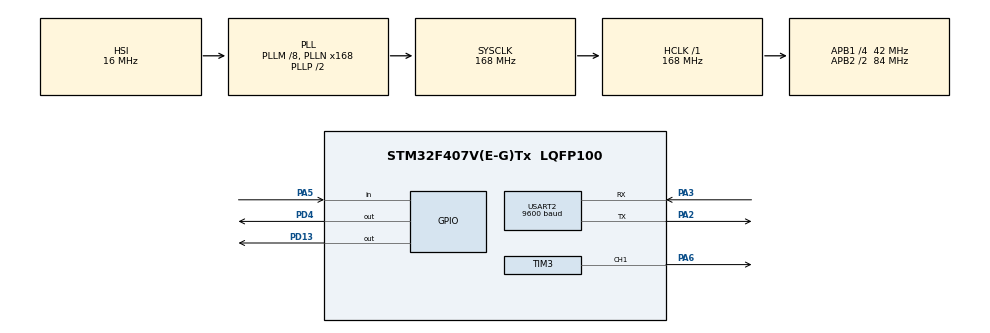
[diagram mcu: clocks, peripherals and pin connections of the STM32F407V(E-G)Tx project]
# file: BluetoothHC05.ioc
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Mcu.Family=STM32F4
Mcu.Name=STM32F407V(E-G)Tx
Mcu.Package=LQFP100
NVIC.PriorityGroup=NVIC_PRIORITYGROUP_4
NVIC.TIM3_IRQn=true\:0\:0\:false\:false\:true\:true\:true\:true
NVIC.USART2_IRQn=true\:0\:0\:false\:false\:true\:true\:true\:true
PA13.Mode=Serial_Wire
PA13.Signal=SYS_JTMS-SWDIO
PA14.Mode=Serial_Wire
PA14.Signal=SYS_JTCK-SWCLK
PA2.Mode=Asynchronous
PA2.Signal=USART2_TX
PA3.Mode=Asynchronous
PA3.Signal=USART2_RX
PA5.Signal=GPIO_Input
PA6.Signal=S_TIM3_CH1
PD13.Signal=GPIO_Output
PD4.Signal=GPIO_Output
PH0-OSC_IN.Mode=HSE-External-Oscillator
PH0-OSC_IN.Signal=RCC_OSC_IN
PH1-OSC_OUT.Mode=HSE-External-Oscillator
PH1-OSC_OUT.Signal=RCC_OSC_OUT
ProjectManager.HeapSize=0x200
ProjectManager.StackSize=0x400
ProjectManager.TargetToolchain=STM32CubeIDE
RCC.48MHZClocksFreq_Value=84000000
RCC.AHBFreq_Value=168000000
RCC.APB1CLKDivider=RCC_HCLK_DIV4
RCC.APB1Freq_Value=42000000
RCC.APB1TimFreq_Value=84000000
RCC.APB2CLKDivider=RCC_HCLK_DIV2
RCC.APB2Freq_Value=84000000
RCC.APB2TimFreq_Value=168000000
RCC.CortexFreq_Value=168000000
RCC.HCLKFreq_Value=168000000
RCC.HSE_VALUE=25000000
RCC.HSI_VALUE=16000000
RCC.LSE_VALUE=32768
RCC.PLLM=8
RCC.PLLN=168
RCC.SYSCLKFreq_VALUE=168000000
RCC.SYSCLKSource=RCC_SYSCLKSOURCE_PLLCLK
RCC.VCOOutputFreq_Value=336000000
SH.S_TIM3_CH1.0=TIM3_CH1,PWM Generation1 CH1
TIM3.Channel-PWM\ Generation1\ CH1=TIM_CHANNEL_1
TIM3.Period=2000 - 1
TIM3.Prescaler=8400 - 1
TIM3.Pulse-PWM\ Generation1\ CH1=1000
USART2.BaudRate=9600
USART2.VirtualMode=VM_ASYNC
VP_TIM3_VS_ClockSourceINT.Mode=Internal
board=custom

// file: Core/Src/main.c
/* USER CODE BEGIN Header */
/**
  ******************************************************************************
  * @file           : main.c
  * @brief          : Main program body
  ******************************************************************************
  * @attention
  *
  * Copyright (c) 2023 STMicroelectronics.
  * All rights reserved.
  *
  * This software is licensed under terms that can be found in the LICENSE file
  * in the root directory of this software component.
  * If no LICENSE file comes with this software, it is provided AS-IS.
  *
  ******************************************************************************
  */
/* USER CODE END Header */
#include "main.h"

/* USER CODE BEGIN Includes */
#include "string.h"
/* USER CODE END Includes */

TIM_HandleTypeDef htim3;

UART_HandleTypeDef huart2;

void SystemClock_Config(void);
static void MX_GPIO_Init(void);
static void MX_USART2_UART_Init(void);
static void MX_TIM3_Init(void);
/* USER CODE BEGIN PFP */
void UART_RxDataAsString_IT(void);
/* USER CODE END PFP */

/* USER CODE BEGIN 0 */
uint8_t rx_byte;
uint8_t rx_buff[20];
uint8_t buff_pos = 0;
uint8_t cmd_rx = 0;

uint8_t hc_responseON[] = "LED IS ON";
uint8_t hc_responseOFF[] = "LED IS OFF";
uint8_t hc_error[] = "INVALID COMMAND";
uint8_t hc_intruder[] = "Someone entered your house!!!";

volatile uint8_t temp;
/* USER CODE END 0 */

int main(void)
{
  /* USER CODE BEGIN 1 */
uint8_t read_pir = 0;

  /* USER CODE END 1 */

  /* MCU Configuration--------------------------------------------------------*/

  /* Reset of all peripherals, Initializes the Flash interface and the Systick. */
  HAL_Init();

  /* Configure the system clock */
  SystemClock_Config();

  /* Initialize all configured peripherals */
  MX_GPIO_Init();
  MX_USART2_UART_Init();
  MX_TIM3_Init();

  /* Infinite loop */
  /* USER CODE BEGIN WHILE */
  HAL_UART_Receive_IT(&huart2, &rx_byte, 1);

  while (1)
  {
    /* USER CODE END WHILE */

    /* USER CODE BEGIN 3 */
	  read_pir = HAL_GPIO_ReadPin(GPIOA, GPIO_PIN_5);
	  if (read_pir && !HAL_GPIO_ReadPin(GPIOD, GPIO_PIN_4)) {
		  HAL_TIM_PWM_Start_IT(&htim3, TIM_CHANNEL_1);
	}else{
		HAL_TIM_PWM_Stop_IT(&htim3, TIM_CHANNEL_1);
		temp = 1;
	}

  }
  /* USER CODE END 3 */
}

void SystemClock_Config(void)
{
  RCC_OscInitTypeDef RCC_OscInitStruct = {0};
  RCC_ClkInitTypeDef RCC_ClkInitStruct = {0};

  /** Configure the main internal regulator output voltage
  */
  __HAL_RCC_PWR_CLK_ENABLE();
  __HAL_PWR_VOLTAGESCALING_CONFIG(PWR_REGULATOR_VOLTAGE_SCALE1);

  /** Initializes the RCC Oscillators according to the specified parameters
  * in the RCC_OscInitTypeDef structure.
  */
  RCC_OscInitStruct.OscillatorType = RCC_OSCILLATORTYPE_HSI;
  RCC_OscInitStruct.HSIState = RCC_HSI_ON;
  RCC_OscInitStruct.HSICalibrationValue = RCC_HSICALIBRATION_DEFAULT;
  RCC_OscInitStruct.PLL.PLLState = RCC_PLL_ON;
  RCC_OscInitStruct.PLL.PLLSource = RCC_PLLSOURCE_HSI;
  RCC_OscInitStruct.PLL.PLLM = 8;
  RCC_OscInitStruct.PLL.PLLN = 168;
  RCC_OscInitStruct.PLL.PLLP = RCC_PLLP_DIV2;
  RCC_OscInitStruct.PLL.PLLQ = 4;
  if (HAL_RCC_OscConfig(&RCC_OscInitStruct) != HAL_OK)
  {
    Error_Handler();
  }

  /** Initializes the CPU, AHB and APB buses clocks
  */
  RCC_ClkInitStruct.ClockType = RCC_CLOCKTYPE_HCLK|RCC_CLOCKTYPE_SYSCLK
                              |RCC_CLOCKTYPE_PCLK1|RCC_CLOCKTYPE_PCLK2;
  RCC_ClkInitStruct.SYSCLKSource = RCC_SYSCLKSOURCE_PLLCLK;
  RCC_ClkInitStruct.AHBCLKDivider = RCC_SYSCLK_DIV1;
  RCC_ClkInitStruct.APB1CLKDivider = RCC_HCLK_DIV4;
  RCC_ClkInitStruct.APB2CLKDivider = RCC_HCLK_DIV2;

  if (HAL_RCC_ClockConfig(&RCC_ClkInitStruct, FLASH_LATENCY_5) != HAL_OK)
  {
    Error_Handler();
  }
}

static void MX_TIM3_Init(void)
{

  TIM_ClockConfigTypeDef sClockSourceConfig = {0};
  TIM_MasterConfigTypeDef sMasterConfig = {0};
  TIM_OC_InitTypeDef sConfigOC = {0};

  htim3.Instance = TIM3;
  htim3.Init.Prescaler = 8400 - 1;
  htim3.Init.CounterMode = TIM_COUNTERMODE_UP;
  htim3.Init.Period = 2000 - 1;
  htim3.Init.ClockDivision = TIM_CLOCKDIVISION_DIV1;
  htim3.Init.AutoReloadPreload = TIM_AUTORELOAD_PRELOAD_DISABLE;
  if (HAL_TIM_Base_Init(&htim3) != HAL_OK)
  {
    Error_Handler();
  }
  sClockSourceConfig.ClockSource = TIM_CLOCKSOURCE_INTERNAL;
  if (HAL_TIM_ConfigClockSource(&htim3, &sClockSourceConfig) != HAL_OK)
  {
    Error_Handler();
  }
  if (HAL_TIM_PWM_Init(&htim3) != HAL_OK)
  {
    Error_Handler();
  }
  sMasterConfig.MasterOutputTrigger = TIM_TRGO_RESET;
  sMasterConfig.MasterSlaveMode = TIM_MASTERSLAVEMODE_DISABLE;
  if (HAL_TIMEx_MasterConfigSynchronization(&htim3, &sMasterConfig) != HAL_OK)
  {
    Error_Handler();
  }
  sConfigOC.OCMode = TIM_OCMODE_PWM1;
  sConfigOC.Pulse = 1000;
  sConfigOC.OCPolarity = TIM_OCPOLARITY_HIGH;
  sConfigOC.OCFastMode = TIM_OCFAST_DISABLE;
  if (HAL_TIM_PWM_ConfigChannel(&htim3, &sConfigOC, TIM_CHANNEL_1) != HAL_OK)
  {
    Error_Handler();
  }
  HAL_TIM_MspPostInit(&htim3);

}

static void MX_USART2_UART_Init(void)
{

  huart2.Instance = USART2;
  huart2.Init.BaudRate = 9600;
  huart2.Init.WordLength = UART_WORDLENGTH_8B;
  huart2.Init.StopBits = UART_STOPBITS_1;
  huart2.Init.Parity = UART_PARITY_NONE;
  huart2.Init.Mode = UART_MODE_TX_RX;
  huart2.Init.HwFlowCtl = UART_HWCONTROL_NONE;
  huart2.Init.OverSampling = UART_OVERSAMPLING_16;
  if (HAL_UART_Init(&huart2) != HAL_OK)
  {
    Error_Handler();
  }

}

static void MX_GPIO_Init(void)
{
  GPIO_InitTypeDef GPIO_InitStruct = {0};

  /* GPIO Ports Clock Enable */
  __HAL_RCC_GPIOH_CLK_ENABLE();
  __HAL_RCC_GPIOA_CLK_ENABLE();
  __HAL_RCC_GPIOD_CLK_ENABLE();

  /*Configure GPIO pin Output Level */
  HAL_GPIO_WritePin(GPIOD, GPIO_PIN_13|GPIO_PIN_4, GPIO_PIN_RESET);

  /*Configure GPIO pin : PA5 */
  GPIO_InitStruct.Pin = GPIO_PIN_5;
  GPIO_InitStruct.Mode = GPIO_MODE_INPUT;
  GPIO_InitStruct.Pull = GPIO_NOPULL;
  HAL_GPIO_Init(GPIOA, &GPIO_InitStruct);

  /*Configure GPIO pins : PD13 PD4 */
  GPIO_InitStruct.Pin = GPIO_PIN_13|GPIO_PIN_4;
  GPIO_InitStruct.Mode = GPIO_MODE_OUTPUT_PP;
  GPIO_InitStruct.Pull = GPIO_NOPULL;
  GPIO_InitStruct.Speed = GPIO_SPEED_FREQ_LOW;
  HAL_GPIO_Init(GPIOD, &GPIO_InitStruct);

}

/* USER CODE BEGIN 4 */
void HAL_TIM_PWM_PulseFinishedCallback(TIM_HandleTypeDef *htim)
{
	if (htim == &htim3) {
		if (temp) {
			HAL_UART_Transmit_IT(&huart2, hc_intruder, sizeof(hc_intruder));
			temp = 0;
		}
	}

}
#if 1
void HAL_UART_RxCpltCallback(UART_HandleTypeDef *huart)
{
	static const uint8_t cmd1[] = "upali";
	static const uint8_t cmd2[] = "ugasi";

	if(huart == &huart2)
	{
		UART_RxDataAsString_IT();

		if (cmd_rx)
		{
			if (!strncmp((char *)rx_buff, (char*)cmd1, sizeof(cmd1))) {
				HAL_TIM_PWM_Stop_IT(&htim3, TIM_CHANNEL_1);
				HAL_GPIO_WritePin(GPIOD, GPIO_PIN_13, SET);
				HAL_GPIO_WritePin(GPIOD, GPIO_PIN_4, SET);
				HAL_UART_Transmit_IT(&huart2, hc_responseON, sizeof(hc_responseON));
			}else if (!strncmp((char *)rx_buff, (char*)cmd2, strlen((char*)cmd2))) {
				HAL_GPIO_WritePin(GPIOD, GPIO_PIN_13, RESET);
				HAL_GPIO_WritePin(GPIOD, GPIO_PIN_4, RESET);
				HAL_UART_Transmit_IT(&huart2, hc_responseOFF, sizeof(hc_responseOFF));
			}else{
				HAL_UART_Transmit_IT(&huart2, hc_error, sizeof(hc_error));
			}
			cmd_rx = 0;
			buff_pos = 0;
			memset(rx_buff, 0, sizeof(rx_buff));
		}

		HAL_UART_Receive_IT(&huart2, &rx_byte, 1);
	}

}

void UART_RxDataAsString_IT(void)
{
	if (rx_byte != 0)
	{
		rx_buff[buff_pos++] = rx_byte;

		if (rx_byte == '\r' || rx_byte == '\n')
		{
			rx_buff[buff_pos-1] = '\0';
			rx_byte = 0;
			cmd_rx = 1;
		}

		if (buff_pos > sizeof(rx_buff))
		{
			buff_pos = 0;
			memset(rx_buff, 0, sizeof(rx_buff));
		}

	}else if (rx_byte == '\0') {
		rx_buff[buff_pos] = rx_byte;
		rx_byte = 0;
		cmd_rx = 1;
	}

}
#endif

//void RxData_OnTimerInterrupt(void)
//{
//	rx_buff[buff_pos++] = rx_byte;
//	HAL_TIM_Base_Start_IT(&htim3);
//
//}
/* USER CODE END 4 */

void Error_Handler(void)
{
  __disable_irq();
  while (1)
  {
  }
}
